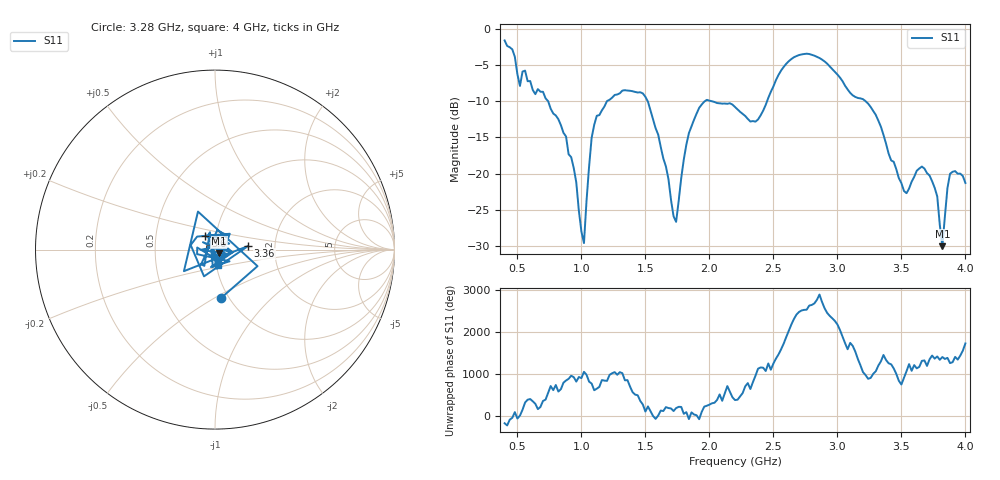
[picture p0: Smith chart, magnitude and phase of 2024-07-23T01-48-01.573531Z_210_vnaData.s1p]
!Created with skrf (http://scikit-rf.org).
# Hz S RI R 50.0
!freq ReS11 ImS11
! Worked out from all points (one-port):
!   181 points, 400 MHz to 4 GHz, reference 50 ohm
!   lowest |S11| = -30.0 dB at 3.82 GHz (marker M1), VSWR 1.07, Z = 52.3 - j2.23 ohm
!   |S11| at or under -10 dB: 740.1 MHz to 1.199 GHz (459.3 MHz wide, 47.4 % of centre); 1.518 GHz to 1.964 GHz (446.4 MHz wide, 25.6 % of centre); 3.22 GHz to end of sweep (the widest 3 of 4)
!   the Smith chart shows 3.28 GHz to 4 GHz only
!   S11 on the Smith chart (normalised r, x): 3.28 GHz: 0.92, -0.54; 3.36 GHz: 1.45, +0.06; 3.6 GHz: 0.89, +0.14; 4 GHz: 1.02, -0.17
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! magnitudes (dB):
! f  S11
! 400 MHz  -1.6
! 520 MHz  -7.9
! 560 MHz  -5.8
! 860 MHz  -14.4
! 940 MHz  -19.2
! 1.02 GHz  -29.6
! 1.06 GHz  -19.0
! 1.1 GHz  -13.3
! 1.3 GHz  -8.9
! 1.5 GHz  -9.4
! 1.66 GHz  -19.0
! 1.72 GHz  -25.9
! 1.76 GHz  -23.8
! 1.82 GHz  -16.0
! 1.92 GHz  -10.9
! 2.2 GHz  -10.8
! 2.36 GHz  -12.8
! 2.66 GHz  -3.9
! 3.1 GHz  -8.9
! 3.28 GHz  -11.3
! 3.36 GHz  -14.6
! 3.56 GHz  -22.1
! 3.6 GHz  -20.4
! 3.74 GHz  -21.0
! 3.78 GHz  -23.1
! 3.82 GHz  -30.0
! 3.88 GHz  -20.0
! 4 GHz  -21.3
